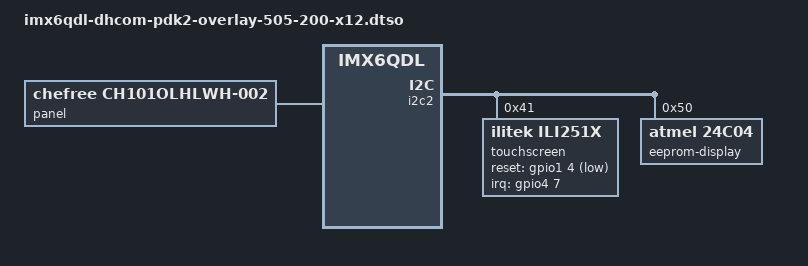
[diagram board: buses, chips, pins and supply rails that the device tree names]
// SPDX-License-Identifier: (GPL-2.0+ OR BSD-3-Clause)
/*
 * Copyright (C) 2021 Marek Vasut <marex@denx.de>
 * Copyright (C) 2023 DH electronics GmbH
 */
/dts-v1/;
/plugin/;

#include "imx6qdl-dhcom-overlay-panel-dpi-lvds-bridge.dtsi"

&buttons {
	/*
	 * Disable button-1, because GPIO B
	 * is used as touch reset.
	 */
	button-1 {
		status = "disabled";
	};
};

&display_bl {
	enable-gpios = <&gpio3 27 GPIO_ACTIVE_HIGH>; /* GPIO G */
	pwms = <&pwm1 0 5000000 0>;
};

&i2c2 {
	#address-cells = <1>;
	#size-cells = <0>;

	touchscreen@41 {
		compatible = "ilitek,ili251x";
		reg = <0x41>;
		interrupt-parent = <&gpio4>;
		interrupts = <7 IRQ_TYPE_EDGE_FALLING>; /* GPIO H */
		pinctrl-0 = <&pinctrl_dhcom_b &pinctrl_dhcom_h>;
		pinctrl-names = "default";
		reset-gpios = <&gpio1 4 GPIO_ACTIVE_LOW>; /* GPIO B */
		touchscreen-inverted-x;
		touchscreen-inverted-y;
		touchscreen-size-x = <0x4000>;
		touchscreen-size-y = <0x2580>;
	};

	eeprom@50 {
		compatible = "atmel,24c04";
		reg = <0x50>;
		label = "eeprom-display";
		pagesize = <16>;
	};
};

&leds {
	/*
	 * Disable led-7, because GPIO H
	 * is used as touch interrupt.
	 */
	led-7 {
		status = "disabled";
	};
};

&panel {
	compatible = "chefree,ch101olhlwh-002";
};
